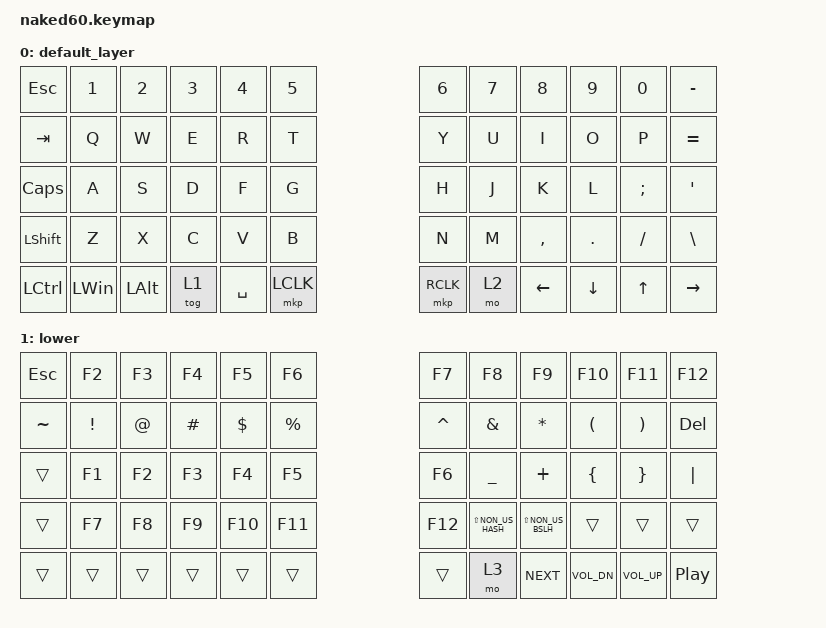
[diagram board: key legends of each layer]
/*
 * Copyright (c) 2020 The ZMK Contributors
 *
 * SPDX-License-Identifier: MIT
 */

#include <behaviors.dtsi>
#include <dt-bindings/zmk/keys.h>
#include <dt-bindings/zmk/bt.h>
#include <dt-bindings/zmk/outputs.h>


/ {
    keymap {
        compatible = "zmk,keymap";

        default_layer {
            // ----------------------------------------------------------------------------------------------------------
            // |  ESC  |  1   |  2   |  3   |  4   |  5   |-------|-------|   6   |  7    |  8   |  9   |   0   |   -_  |
            // |  TAB  |  Q   |  W   |  E   |  R   |  T   |-------|-------|   Y   |  U    |  I   |  O   |   P   |   =+  |
            // |  CAPS |  A   |  S   |  D   |  F   |  G   |-------|-------|   H   |  J    |  K   |  L   |   ;   |   '"  |
            // | SHIFT |  Z   |  X   |  C   |  V   |  B   |-------|-------|   N   |  M    |  ,   |  .   |   /   |   \   |
            // | CTRL  |  WIN |  ALT |  FN  |   SPACE     |   M1  |   M2  |     ENTER     |  FN  |  [{  |  ]}   | BKSPC |


            bindings = <
            &kp ESC     &kp N1        &kp N2    &kp N3  &kp N4     &kp N5                        &kp N6  &kp N7     &kp N8     &kp N9            &kp N0             &kp MINUS
            &kp TAB     &kp Q         &kp W     &kp E   &kp R      &kp T                         &kp Y   &kp U      &kp I      &kp O             &kp P              &kp EQUAL
            &kp CAPS    &kp A         &kp S     &kp D   &kp F      &kp G                         &kp H   &kp J      &kp K      &kp L             &kp SEMI           &kp SQT
            &kp LSHIFT  &kp Z         &kp X     &kp C   &kp V      &kp B                         &kp N   &kp M      &kp COMMA  &kp DOT           &kp FSLH           &kp BACKSLASH
            &kp LCTRL   &kp LEFT_WIN  &kp LALT  &tog 1      &kp SPACE      &mkp LCLK  &mkp RCLK      &mo 2  &kp LEFT &kp DOWN  &kp UP  &kp RIGHT
            >;
        };

        lower {
            // ----------------------------------------------------------------------------------------------------------
            // |  ESC  |  F2  |  F3  |  F4  |  F5  |  F6  |-------|-------|   F7  |  F8   |  F9  | F10  |  F11  |  F12  |
            // |   ~   |  !   |  @   |  #   |  $   |  %   |-------|-------|   ^   |   &   |  *   |  (   |   )   |  DEL  |
            // |       |  F1  |  F2  |  F3  |  F4  |  F5  |-------|-------|   F6  |   _   |  +   |  {   |   }   |   |   |
            // |       |  F7  |  F8  |  F9  |  F10 |  F11 |-------|-------|   F12 | LS(#) |LS(|) |      |       |       |
            // |-------|      |      |      |      |      |       |       |       | NEXT  | Vol- | Vol+ | PLAY  |-------|
            bindings = <
                &kp ESC   &kp F2   &kp F3   &kp F4   &kp F5    &kp F6                  &kp F7    &kp F8              &kp F9              &kp F10      &kp F11          &kp F12
                &kp TILDE &kp EXCL &kp AT   &kp HASH &kp DLLR  &kp PRCNT               &kp CARET &kp AMPS            &kp ASTRK           &kp LPAR     &kp RPAR         &kp DEL
                &trans    &kp F1   &kp F2   &kp F3   &kp F4    &kp F5                  &kp F6    &kp UNDER           &kp PLUS            &kp LBRC     &kp RBRC         &kp PIPE
                &trans    &kp F7   &kp F8   &kp F9   &kp F10   &kp F11                 &kp F12   &kp LS(NON_US_HASH) &kp LS(NON_US_BSLH) &trans    &trans        &trans
                          &trans   &trans   &trans   &trans    &trans    &trans &trans &mo 3     &kp C_NEXT          &kp C_VOL_DN        &kp C_VOL_UP &kp C_PLAY_PAUSE
            >;
        };

    };
};
